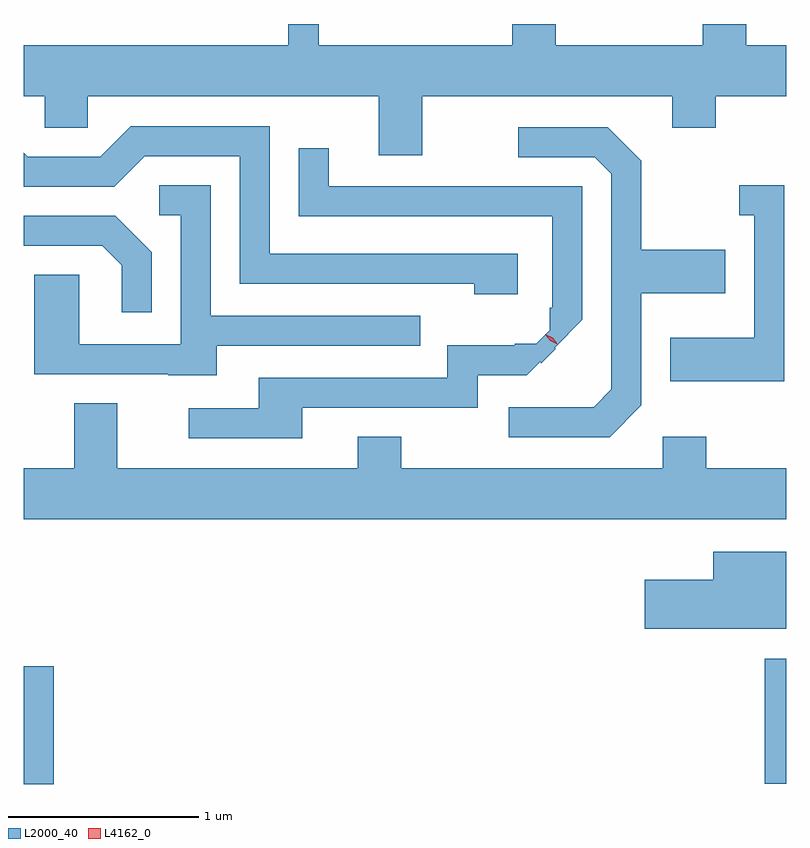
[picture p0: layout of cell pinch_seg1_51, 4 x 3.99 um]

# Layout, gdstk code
import gdstk
lib = gdstk.Library(unit=1e-6, precision=1e-09)
def R(c, l, rs):  # rectangles x0, y0, x1, y1
    for r in rs: c.add(gdstk.rectangle(r[:2], r[2:], *l))
def P(c, l, *ps):  # polygons
    for p in ps: c.add(gdstk.Polygon(p, *l))
L2000_40 = (2000, 40)
L4162_0 = (4162, 0)

pinch_seg1_51 = lib.new_cell('pinch_seg1_51')
R(pinch_seg1_51, L2000_40, [(1296.508,960.346,1296.664,960.964), (1300.396,960.348,1300.508,961.004)])
P(pinch_seg1_51, L2000_40, [(1300.139,963.956),(1300.508,963.956),(1300.508,964.224),(1300.299,964.224),(1300.299,964.335),(1300.071,964.335),(1300.071,964.224),(1299.299,964.224),(1299.299,964.335),(1299.071,964.335),(1299.071,964.224),(1298.054,964.224),(1298.054,964.335),(1297.896,964.335),(1297.896,964.224),(1296.508,964.224),(1296.508,963.956),(1296.616,963.956),(1296.616,963.791),(1296.844,963.791),(1296.844,963.956),(1298.371,963.956),(1298.371,963.646),(1298.599,963.646),(1298.599,963.956),(1299.911,963.956),(1299.911,963.791),(1300.139,963.791)],
  [(1299.099,963.129),(1297.799,963.129),(1297.799,963.799),(1297.069,963.799),(1296.909,963.639),(1296.527,963.639),(1296.508,963.658),(1296.508,963.481),(1296.982,963.481),(1297.142,963.641),(1297.641,963.641),(1297.641,962.971),(1298.871,962.971),(1298.871,962.916),(1299.099,962.916)],
  [(1299.749,962.334),(1299.749,962.921),(1300.189,962.921),(1300.189,963.149),(1299.749,963.149),(1299.749,963.617),(1299.572,963.794),(1299.103,963.794),(1299.103,963.636),(1299.504,963.636),(1299.591,963.549),(1299.591,962.417),(1299.499,962.324),(1299.053,962.324),(1299.053,962.166),(1299.582,962.166)],
  [(1297.969,962.321),(1298.889,962.321),(1298.889,962.491),(1299.147,962.491),(1299.217,962.562),(1299.223,962.555),(1299.299,962.631),(1299.294,962.636),(1299.439,962.782),(1299.439,963.484),(1298.109,963.484),(1298.109,963.683),(1297.951,963.683),(1297.951,963.326),(1299.281,963.326),(1299.281,962.845),(1299.268,962.845),(1299.268,962.728),(1299.196,962.656),(1299.085,962.656),(1299.085,962.649),(1298.731,962.649),(1298.731,962.479),(1297.741,962.479),(1297.741,962.319),(1297.373,962.319),(1297.373,962.161),(1297.969,962.161)],
  [(1297.519,962.646),(1298.588,962.646),(1298.588,962.804),(1297.489,962.804),(1297.489,963.489),(1297.218,963.489),(1297.218,963.331),(1297.331,963.331),(1297.331,962.654),(1296.799,962.654),(1296.799,963.019),(1296.561,963.019),(1296.561,962.496),(1297.265,962.496),(1297.265,962.491),(1297.519,962.491)],
  [(1300.499,963.489),(1300.263,963.489),(1300.263,963.331),(1300.341,963.331),(1300.341,962.689),(1299.901,962.689),(1299.901,962.461),(1300.499,962.461)],
  [(1297.179,963.137),(1296.987,963.329),(1296.508,963.329),(1296.508,963.171),(1296.919,963.171),(1297.021,963.069),(1297.021,962.823),(1297.179,962.823)],
  [(1300.508,962.004),(1300.089,962.004),(1300.089,962.169),(1299.861,962.169),(1299.861,962.004),(1298.489,962.004),(1298.489,962.169),(1298.261,962.169),(1298.261,962.004),(1296.999,962.004),(1296.999,962.344),(1296.771,962.344),(1296.771,962.004),(1296.508,962.004),(1296.508,961.736),(1300.508,961.736)],
  [(1300.508,961.564),(1300.126,961.564),(1300.126,961.419),(1299.766,961.419),(1299.766,961.161),(1300.508,961.161)])
P(pinch_seg1_51, L4162_0, [(1299.308,962.653),(1299.271,962.672),(1299.245,962.705),(1299.245,962.706),(1299.245,962.706),(1299.283,962.687),(1299.309,962.654),(1299.309,962.653)],
  [(1299.304,962.658),(1299.272,962.673),(1299.25,962.702),(1299.25,962.702),(1299.251,962.702),(1299.284,962.688),(1299.305,962.659),(1299.305,962.658)])

lib.write_gds('pinch_seg1_51.gds')
